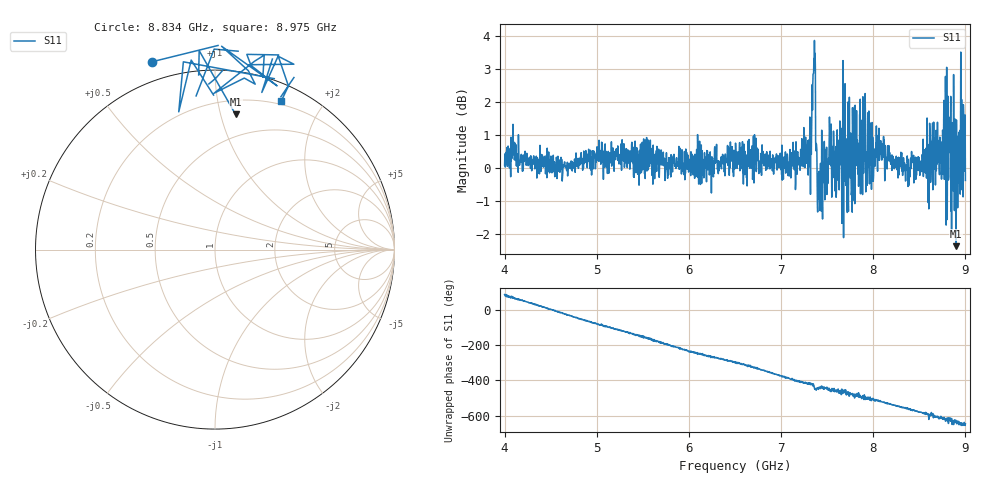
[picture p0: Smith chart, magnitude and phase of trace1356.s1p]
! Created with skrf 1.8.0 (http://scikit-rf.org).
# Hz S RI R 50.0
!freq ReS11 ImS11
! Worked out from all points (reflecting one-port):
!   1601 points, 4 GHz to 9 GHz, reference 50 ohm
!   lowest |S11| = -2.4 dB at 8.9 GHz (marker M1), VSWR 7.40, Z = 15.5 + j55.7 ohm
!   phase of S11 starts at 84 deg and turns -730 deg over the sweep
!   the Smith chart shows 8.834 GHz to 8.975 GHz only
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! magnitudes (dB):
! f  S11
! 4 GHz  0.1
! 4.1 GHz  0.5
! 4.625 GHz  -0.4
! 5.25 GHz  0.2
! 5.875 GHz  0.2
! 6.5 GHz  0.1
! 7.125 GHz  0.4
! 7.294 GHz  -0.2
! 7.319 GHz  -0.8
! 7.347 GHz  2.8
! 7.366 GHz  3.0
! 7.4 GHz  -0.4
! 7.412 GHz  -0.1
! 7.547 GHz  0.4
! 7.609 GHz  1.2
! 7.669 GHz  1.4
! 7.688 GHz  1.6
! 7.703 GHz  -0.5
! 7.75 GHz  -0.1
! 7.775 GHz  1.8
! 7.8 GHz  -1.1
! 7.891 GHz  0.3
! 8.375 GHz  0.2
! 8.766 GHz  2.1
! 8.819 GHz  -0.3
! 8.9 GHz  -2.4
! 8.972 GHz  0.0
! 9 GHz  -0.4
